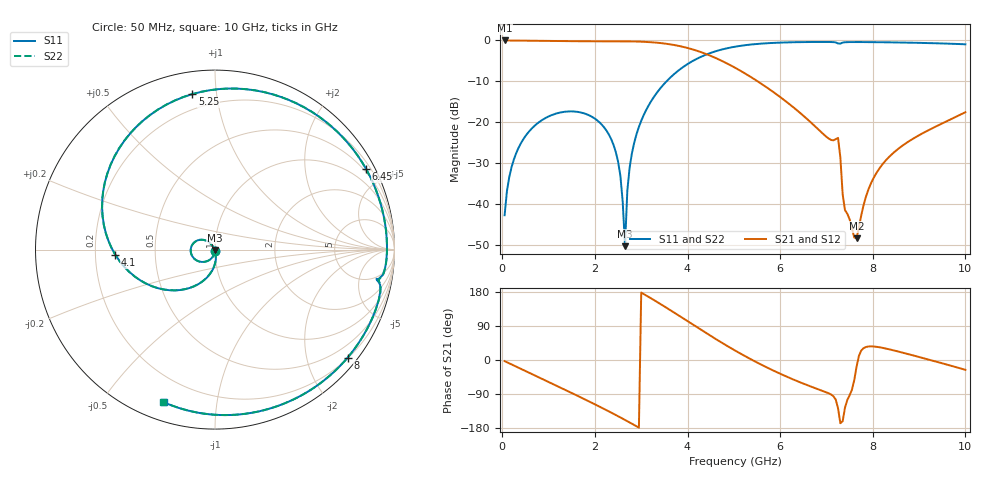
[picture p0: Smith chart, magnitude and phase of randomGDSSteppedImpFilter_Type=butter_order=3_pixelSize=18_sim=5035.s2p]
! freq	dB(S11)	phase(S11)	dB(S12)	phase(S12)
!  dB(S21)	phase(S21)	dB(S22)	phase(S22)
!S-par simulation data
#  GHz  S  DB  R 50
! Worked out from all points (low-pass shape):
!   200 points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, 50 MHz to 10 GHz, reference 50 ohm
!   highest |S21| = -0.01 dB at 50 MHz (marker M1); lowest = -48.4 dB at 7.65 GHz (marker M2)
!   |S21| within 3 dB of the highest: start of sweep to 4.326 GHz
!   lowest |S11| = -50.3 dB at 2.65 GHz (marker M3), VSWR 1.01, Z = 49.8 - j0.231 ohm
!   |S11| at or under -10 dB: start of sweep to 3.546 GHz
!   |S22| runs from -48.5 to -0.4 dB; largest |S21 - S12| = 0
!   S11 on the Smith chart (normalised r, x): 50 MHz: 1.00, -0.01; 4.1 GHz: 0.29, -0.02; 5.25 GHz: 0.12, +0.86; 6.45 GHz: 0.40, +3.98; 8 GHz: 0.21, -2.80; 10 GHz: 0.08, -0.72
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0.05  -42.77 -91.1  -0.01 -3.0  -0.01 -3.0  -42.76 -90.6
0.2  -31.01 -101.0  -0.02 -11.7  -0.02 -11.7  -31.00 -101.0
0.55  -22.65 -122.3  -0.07 -32.0  -0.07 -32.0  -22.65 -122.2
1.75  -17.79 167.4  -0.20 -101.9  -0.20 -101.9  -17.79 167.7
2.45  -27.25 126.1  -0.20 -145.1  -0.20 -145.1  -27.24 127.3
2.55  -33.10 122.4  -0.20 -151.5  -0.20 -151.5  -33.05 124.7
2.65  -50.33 -130.4  -0.21 -158.1  -0.21 -158.1  -48.48 -135.3
2.7  -36.70 -81.6  -0.22 -161.5  -0.22 -161.5  -36.60 -85.0
2.85  -24.96 -85.4  -0.25 -171.6  -0.25 -171.6  -24.95 -86.3
3.4  -11.89 -123.1  -0.62 148.9  -0.62 148.9  -11.89 -123.2
4.1  -5.11 -176.9  -2.16 94.7  -2.16 94.7  -5.11 -176.9
4.55  -2.85 148.3  -4.01 59.8  -4.01 59.8  -2.85 148.4
5.05  -1.48 111.9  -6.83 23.3  -6.83 23.3  -1.48 112.1
5.25  -1.16 98.3  -8.13 9.7  -8.13 9.7  -1.15 98.5
6.45  -0.41 28.0  -17.91 -59.8  -17.91 -59.8  -0.41 28.2
6.7  -0.38 15.5  -20.44 -71.7  -20.44 -71.7  -0.38 15.7
7.25  -0.74 -10.8  -23.84 -127.5  -23.84 -127.5  -0.63 -10.3
7.4  -0.44 -14.5  -41.51 -125.8  -41.51 -125.8  -0.42 -14.7
7.65  -0.39 -25.4  -48.37 -17.6  -48.37 -17.6  -0.39 -25.4
8  -0.42 -39.1  -34.03 35.9  -34.03 35.9  -0.42 -39.1
8.35  -0.47 -52.1  -28.52 28.3  -28.52 28.3  -0.47 -52.1
10  -0.95 -108.6  -17.56 -26.0  -17.56 -26.0  -0.95 -108.8
